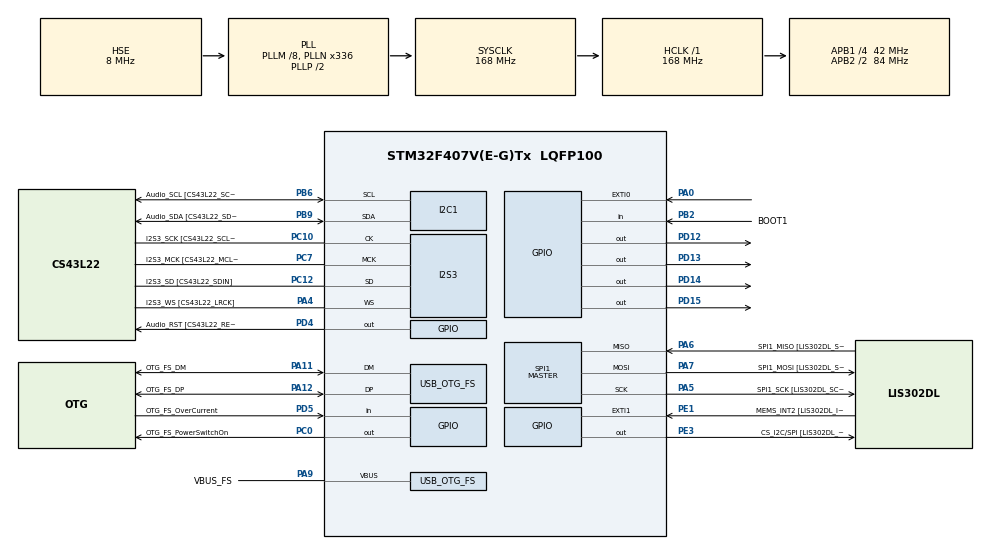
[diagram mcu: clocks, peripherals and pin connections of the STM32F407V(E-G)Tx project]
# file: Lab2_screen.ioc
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I2S3.AudioFreq-Half_Duplex_Master=I2S_AUDIOFREQ_96K
I2S3.ErrorAudioFreq=-2.34 %
I2S3.ErrorAudioFreq-Half_Duplex_Master=0.8 %
I2S3.FullDuplexMode=I2S_FULLDUPLEXMODE_DISABLE
I2S3.Instance=SPI$Index
I2S3.RealAudioFreq=93.75 KHz
I2S3.RealAudioFreq-Half_Duplex_Master=96.774 KHz
I2S3.VirtualMode=I2S_MODE_MASTER
Mcu.Family=STM32F4
Mcu.Name=STM32F407V(E-G)Tx
Mcu.Package=LQFP100
NVIC.EXTI0_IRQn=true\:0\:0\:false\:false\:true\:true\:true\:true
NVIC.OTG_FS_IRQn=true\:0\:0\:false\:false\:true\:true\:true\:true
NVIC.PriorityGroup=NVIC_PRIORITYGROUP_0
NVIC.TIM2_IRQn=true\:0\:0\:false\:false\:true\:true\:true\:true
PA0-WKUP.GPIO_ModeDefaultEXTI=GPIO_MODE_IT_RISING_FALLING
PA0-WKUP.Signal=GPXTI0
PA10.GPIO_Label=OTG_FS_ID
PA10.GPIO_Mode=GPIO_MODE_AF_PP
PA10.GPIO_PuPd=GPIO_NOPULL
PA10.GPIO_Speed=GPIO_SPEED_FREQ_LOW
PA10.Signal=USB_OTG_FS_ID
PA11.GPIO_Label=OTG_FS_DM
PA11.GPIO_Mode=GPIO_MODE_AF_PP
PA11.GPIO_PuPd=GPIO_NOPULL
PA11.GPIO_Speed=GPIO_SPEED_FREQ_LOW
PA11.Mode=Host_Only
PA11.Signal=USB_OTG_FS_DM
PA12.GPIO_Label=OTG_FS_DP
PA12.GPIO_Mode=GPIO_MODE_AF_PP
PA12.GPIO_PuPd=GPIO_NOPULL
PA12.GPIO_Speed=GPIO_SPEED_FREQ_LOW
PA12.Mode=Host_Only
PA12.Signal=USB_OTG_FS_DP
PA13.GPIO_Label=SWDIO
PA13.Mode=Serial_Wire
PA13.Signal=SYS_JTMS-SWDIO
PA14.GPIO_Label=SWCLK
PA14.Mode=Serial_Wire
PA14.Signal=SYS_JTCK-SWCLK
PA4.GPIO_Label=I2S3_WS [CS43L22_LRCK]
PA4.GPIO_Mode=GPIO_MODE_AF_PP
PA4.GPIO_PuPd=GPIO_NOPULL
PA4.GPIO_Speed=GPIO_SPEED_FREQ_LOW
PA4.Mode=Half_Duplex_Master
PA4.Signal=I2S3_WS
PA5.GPIO_Label=SPI1_SCK [LIS302DL_SCL/SPC]
PA5.GPIO_Mode=GPIO_MODE_AF_PP
PA5.GPIO_PuPd=GPIO_NOPULL
PA5.GPIO_Speed=GPIO_SPEED_FREQ_LOW
PA5.Mode=Full_Duplex_Master
PA5.Signal=SPI1_SCK
PA6.GPIO_Label=SPI1_MISO [LIS302DL_SDO]
PA6.GPIO_Mode=GPIO_MODE_AF_PP
PA6.GPIO_PuPd=GPIO_NOPULL
PA6.GPIO_Speed=GPIO_SPEED_FREQ_LOW
PA6.Mode=Full_Duplex_Master
PA6.Signal=SPI1_MISO
PA7.GPIO_Label=SPI1_MOSI [LIS302DL_SDA/SDI/SDO]
PA7.GPIO_Mode=GPIO_MODE_AF_PP
PA7.GPIO_PuPd=GPIO_NOPULL
PA7.GPIO_Speed=GPIO_SPEED_FREQ_LOW
PA7.Mode=Full_Duplex_Master
PA7.Signal=SPI1_MOSI
PA9.GPIO_Label=VBUS_FS
PA9.GPIO_Mode=GPIO_MODE_INPUT
PA9.GPIO_PuPd=GPIO_NOPULL
PA9.Mode=Activate_VBUS
PA9.Signal=USB_OTG_FS_VBUS
PB10.GPIO_Label=CLK_IN [MP45DT02_CLK]
PB10.GPIO_Mode=GPIO_MODE_AF_PP
PB10.GPIO_PuPd=GPIO_NOPULL
PB10.GPIO_Speed=GPIO_SPEED_FREQ_LOW
PB10.Signal=I2S2_CK
PB2.GPIO_Label=BOOT1
PB2.GPIO_Mode=GPIO_MODE_INPUT
PB2.GPIO_PuPd=GPIO_NOPULL
PB2.Signal=GPIO_Input
PB3.GPIO_Label=SWO
PB3.Signal=SYS_JTDO-SWO
PB6.GPIO_Label=Audio_SCL [CS43L22_SCL]
PB6.GPIO_Mode=GPIO_MODE_AF_OD
PB6.GPIO_Pu=GPIO_PULLUP
PB6.GPIO_PuPd=GPIO_NOPULL
PB6.GPIO_Speed=GPIO_SPEED_FREQ_LOW
PB6.Mode=I2C
PB6.Signal=I2C1_SCL
PB9.GPIO_Label=Audio_SDA [CS43L22_SDA]
PB9.GPIO_Mode=GPIO_MODE_AF_OD
PB9.GPIO_Pu=GPIO_PULLUP
PB9.GPIO_PuPd=GPIO_NOPULL
PB9.GPIO_Speed=GPIO_SPEED_FREQ_LOW
PB9.Mode=I2C
PB9.Signal=I2C1_SDA
PC0.GPIO_Label=OTG_FS_PowerSwitchOn
PC0.GPIO_PuPd=GPIO_NOPULL
PC0.GPIO_Speed=GPIO_SPEED_FREQ_LOW
PC0.PinState=GPIO_PIN_SET
PC0.Signal=GPIO_Output
PC10.GPIO_Label=I2S3_SCK [CS43L22_SCLK]
PC10.GPIO_Mode=GPIO_MODE_AF_PP
PC10.GPIO_PuPd=GPIO_NOPULL
PC10.GPIO_Speed=GPIO_SPEED_FREQ_LOW
PC10.Mode=Half_Duplex_Master
PC10.Signal=I2S3_CK
PC12.GPIO_Label=I2S3_SD [CS43L22_SDIN]
PC12.GPIO_Mode=GPIO_MODE_AF_PP
PC12.GPIO_PuPd=GPIO_NOPULL
PC12.GPIO_Speed=GPIO_SPEED_FREQ_LOW
PC12.Mode=Half_Duplex_Master
PC12.Signal=I2S3_SD
PC14-OSC32_IN.GPIO_Label=PC14-OSC32_IN
PC14-OSC32_IN.Mode=LSE-External-Oscillator
PC14-OSC32_IN.Signal=RCC_OSC32_IN
PC15-OSC32_OUT.GPIO_Label=PC15-OSC32_OUT
PC15-OSC32_OUT.Mode=LSE-External-Oscillator
PC15-OSC32_OUT.Signal=RCC_OSC32_OUT
PC3.GPIO_Label=PDM_OUT [MP45DT02_DOUT]
PC3.GPIO_Mode=GPIO_MODE_AF_PP
PC3.GPIO_PuPd=GPIO_NOPULL
PC3.GPIO_Speed=GPIO_SPEED_FREQ_LOW
PC3.Signal=I2S2_SD
PC7.GPIO_Label=I2S3_MCK [CS43L22_MCLK]
PC7.GPIO_Mode=GPIO_MODE_AF_PP
PC7.GPIO_PuPd=GPIO_NOPULL
PC7.GPIO_Speed=GPIO_SPEED_FREQ_LOW
PC7.Mode=Master_Clock_Activated
PC7.Signal=I2S3_MCK
PD12.Signal=GPIO_Output
PD13.Signal=GPIO_Output
PD14.Signal=GPIO_Output
PD15.Signal=GPIO_Output
PD4.GPIO_Label=Audio_RST [CS43L22_RESET]
PD4.GPIO_PuPd=GPIO_NOPULL
PD4.GPIO_Speed=GPIO_SPEED_FREQ_LOW
PD4.Signal=GPIO_Output
PD5.GPIO_Label=OTG_FS_OverCurrent
PD5.GPIO_Mode=GPIO_MODE_INPUT
PD5.GPIO_PuPd=GPIO_NOPULL
PD5.Signal=GPIO_Input
PE1.GPIO_Label=MEMS_INT2 [LIS302DL_INT2]
PE1.GPIO_ModeDefaultEXTI=GPIO_MODE_EVT_RISING
PE1.GPIO_PuPd=GPIO_NOPULL
PE1.Signal=GPXTI1
PE3.GPIO_Label=CS_I2C/SPI [LIS302DL_CS_I2C/SPI]
PE3.GPIO_PuPd=GPIO_NOPULL
PE3.GPIO_Speed=GPIO_SPEED_FREQ_LOW
PE3.Signal=GPIO_Output
PH0-OSC_IN.GPIO_Label=PH0-OSC_IN
PH0-OSC_IN.Mode=HSE-External-Oscillator
PH0-OSC_IN.Signal=RCC_OSC_IN
PH1-OSC_OUT.GPIO_Label=PH1-OSC_OUT
PH1-OSC_OUT.Mode=HSE-External-Oscillator
PH1-OSC_OUT.Signal=RCC_OSC_OUT
ProjectManager.HeapSize=0x200
ProjectManager.StackSize=0x400
ProjectManager.TargetToolchain=STM32CubeIDE
RCC.48MHZClocksFreq_Value=48000000
RCC.AHBFreq_Value=168000000
RCC.APB1CLKDivider=RCC_HCLK_DIV4
RCC.APB1Freq_Value=42000000
RCC.APB1TimFreq_Value=84000000
RCC.APB2CLKDivider=RCC_HCLK_DIV2
RCC.APB2Freq_Value=84000000
RCC.APB2TimFreq_Value=168000000
RCC.CortexFreq_Value=168000000
RCC.HCLKFreq_Value=168000000
RCC.HSE_VALUE=8000000
RCC.HSI_VALUE=16000000
RCC.PLLM=8
RCC.PLLN=336
RCC.PLLQ=7
RCC.SYSCLKFreq_VALUE=168000000
RCC.SYSCLKSource=RCC_SYSCLKSOURCE_PLLCLK
RCC.VCOOutputFreq_Value=336000000
SPI1.BaudRatePrescaler-Full_Duplex_Master=SPI_BAUDRATEPRESCALER_2
SPI1.CalculateBaudRate-Full_Duplex_Master=42.0 MBits/s
SPI1.Direction=SPI_DIRECTION_2LINES
SPI1.Mode=SPI_MODE_MASTER
SPI1.Mode-Full_Duplex_Master=SPI_MODE_MASTER
SPI1.VirtualType=VM_MASTER
TIM2.Period=10000-1
TIM2.Prescaler=8400-1
TIM4.Period=1000-1
TIM4.Prescaler=84
USB_HOST.BSP.number=1
USB_HOST.USBH_HandleTypeDef-CDC_FS=hUsbHostFS
USB_HOST.VirtualModeFS=Cdc
USB_HOST0.BSP.STBoard=false
USB_HOST0.BSP.api=Unknown
USB_HOST0.BSP.instance=PC0
USB_HOST0.BSP.ip=GPIO
USB_HOST0.BSP.mode=Output
USB_HOST0.BSP.name=Drive_VBUS_FS
USB_HOST0.BSP.solution=PC0
USB_OTG_FS.VirtualMode=Host_Only
USB_OTG_FS.phy_itface=HCD_PHY_EMBEDDED
VP_TIM2_VS_ClockSourceINT.Mode=Internal
VP_TIM4_VS_ClockSourceINT.Mode=Internal
VP_USB_HOST_VS_USB_HOST_CDC_FS.Mode=CDC_FS
board=STM32F407G-DISC1

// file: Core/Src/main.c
/* USER CODE BEGIN Header */
/**
  ******************************************************************************
  * @file           : main.c
  * @brief          : Main program body
  ******************************************************************************
  * @attention
  *
  * Copyright (c) 2025 STMicroelectronics.
  * All rights reserved.
  *
  * This software is licensed under terms that can be found in the LICENSE file
  * in the root directory of this software component.
  * If no LICENSE file comes with this software, it is provided AS-IS.
  *
  ******************************************************************************
  */
/* USER CODE END Header */
#include "main.h"
#include "usb_host.h"
#include "wh1602.h"

I2C_HandleTypeDef hi2c1;

I2S_HandleTypeDef hi2s3;

SPI_HandleTypeDef hspi1;

TIM_HandleTypeDef htim2;
TIM_HandleTypeDef htim4;

/* USER CODE BEGIN PV */
uint32_t currentClick = 0;
uint32_t prevClick = 0;
uint32_t i_count = 0;

/* USER CODE END PV */

void SystemClock_Config(void);
static void MX_GPIO_Init(void);
static void MX_I2C1_Init(void);
static void MX_I2S3_Init(void);
static void MX_SPI1_Init(void);
static void MX_TIM2_Init(void);
static void MX_TIM4_Init(void);
void MX_USB_HOST_Process(void);

int main(void)
{

  /* MCU Configuration--------------------------------------------------------*/

  /* Reset of all peripherals, Initializes the Flash interface and the Systick. */
  HAL_Init();

  /* Configure the system clock */
  SystemClock_Config();

  /* Initialize all configured peripherals */
  MX_GPIO_Init();
  MX_I2C1_Init();
  MX_I2S3_Init();
  MX_SPI1_Init();
  MX_USB_HOST_Init();
  MX_TIM2_Init();
  MX_TIM4_Init();
  /* USER CODE BEGIN 2 */
  lcd_init();
  /* USER CODE END 2 */

  /* Infinite loop */
  while (1)
  {
    MX_USB_HOST_Process();

    /* USER CODE BEGIN 3 */
    char name [3][60] = {"Oleksii", "Svitlana", "Anastasia"};
    char surname [3][60] = {"Chkalov", "Chkalova", "Platonova"};

    for (i_count = 0; i_count < 3; i_count++)
    {
    	lcd_clear();

    	lcd_print_string_at(name[i_count], 0, 0);
    	lcd_print_string_at(surname[i_count], 0, 1);

    	HAL_Delay(2000);
    }
  }
  /* USER CODE END 3 */
}

void SystemClock_Config(void)
{
  RCC_OscInitTypeDef RCC_OscInitStruct = {0};
  RCC_ClkInitTypeDef RCC_ClkInitStruct = {0};

  /** Configure the main internal regulator output voltage
  */
  __HAL_RCC_PWR_CLK_ENABLE();
  __HAL_PWR_VOLTAGESCALING_CONFIG(PWR_REGULATOR_VOLTAGE_SCALE1);

  /** Initializes the RCC Oscillators according to the specified parameters
  * in the RCC_OscInitTypeDef structure.
  */
  RCC_OscInitStruct.OscillatorType = RCC_OSCILLATORTYPE_HSE;
  RCC_OscInitStruct.HSEState = RCC_HSE_ON;
  RCC_OscInitStruct.PLL.PLLState = RCC_PLL_ON;
  RCC_OscInitStruct.PLL.PLLSource = RCC_PLLSOURCE_HSE;
  RCC_OscInitStruct.PLL.PLLM = 8;
  RCC_OscInitStruct.PLL.PLLN = 336;
  RCC_OscInitStruct.PLL.PLLP = RCC_PLLP_DIV2;
  RCC_OscInitStruct.PLL.PLLQ = 7;
  if (HAL_RCC_OscConfig(&RCC_OscInitStruct) != HAL_OK)
  {
    Error_Handler();
  }

  /** Initializes the CPU, AHB and APB buses clocks
  */
  RCC_ClkInitStruct.ClockType = RCC_CLOCKTYPE_HCLK|RCC_CLOCKTYPE_SYSCLK
                              |RCC_CLOCKTYPE_PCLK1|RCC_CLOCKTYPE_PCLK2;
  RCC_ClkInitStruct.SYSCLKSource = RCC_SYSCLKSOURCE_PLLCLK;
  RCC_ClkInitStruct.AHBCLKDivider = RCC_SYSCLK_DIV1;
  RCC_ClkInitStruct.APB1CLKDivider = RCC_HCLK_DIV4;
  RCC_ClkInitStruct.APB2CLKDivider = RCC_HCLK_DIV2;

  if (HAL_RCC_ClockConfig(&RCC_ClkInitStruct, FLASH_LATENCY_5) != HAL_OK)
  {
    Error_Handler();
  }
}

static void MX_I2C1_Init(void)
{

  hi2c1.Instance = I2C1;
  hi2c1.Init.ClockSpeed = 100000;
  hi2c1.Init.DutyCycle = I2C_DUTYCYCLE_2;
  hi2c1.Init.OwnAddress1 = 0;
  hi2c1.Init.AddressingMode = I2C_ADDRESSINGMODE_7BIT;
  hi2c1.Init.DualAddressMode = I2C_DUALADDRESS_DISABLE;
  hi2c1.Init.OwnAddress2 = 0;
  hi2c1.Init.GeneralCallMode = I2C_GENERALCALL_DISABLE;
  hi2c1.Init.NoStretchMode = I2C_NOSTRETCH_DISABLE;
  if (HAL_I2C_Init(&hi2c1) != HAL_OK)
  {
    Error_Handler();
  }

}

static void MX_I2S3_Init(void)
{

  hi2s3.Instance = SPI3;
  hi2s3.Init.Mode = I2S_MODE_MASTER_TX;
  hi2s3.Init.Standard = I2S_STANDARD_PHILIPS;
  hi2s3.Init.DataFormat = I2S_DATAFORMAT_16B;
  hi2s3.Init.MCLKOutput = I2S_MCLKOUTPUT_ENABLE;
  hi2s3.Init.AudioFreq = I2S_AUDIOFREQ_96K;
  hi2s3.Init.CPOL = I2S_CPOL_LOW;
  hi2s3.Init.ClockSource = I2S_CLOCK_PLL;
  hi2s3.Init.FullDuplexMode = I2S_FULLDUPLEXMODE_DISABLE;
  if (HAL_I2S_Init(&hi2s3) != HAL_OK)
  {
    Error_Handler();
  }

}

static void MX_SPI1_Init(void)
{

  /* SPI1 parameter configuration*/
  hspi1.Instance = SPI1;
  hspi1.Init.Mode = SPI_MODE_MASTER;
  hspi1.Init.Direction = SPI_DIRECTION_2LINES;
  hspi1.Init.DataSize = SPI_DATASIZE_8BIT;
  hspi1.Init.CLKPolarity = SPI_POLARITY_LOW;
  hspi1.Init.CLKPhase = SPI_PHASE_1EDGE;
  hspi1.Init.NSS = SPI_NSS_SOFT;
  hspi1.Init.BaudRatePrescaler = SPI_BAUDRATEPRESCALER_2;
  hspi1.Init.FirstBit = SPI_FIRSTBIT_MSB;
  hspi1.Init.TIMode = SPI_TIMODE_DISABLE;
  hspi1.Init.CRCCalculation = SPI_CRCCALCULATION_DISABLE;
  hspi1.Init.CRCPolynomial = 10;
  if (HAL_SPI_Init(&hspi1) != HAL_OK)
  {
    Error_Handler();
  }

}

static void MX_TIM2_Init(void)
{

  TIM_ClockConfigTypeDef sClockSourceConfig = {0};
  TIM_MasterConfigTypeDef sMasterConfig = {0};

  htim2.Instance = TIM2;
  htim2.Init.Prescaler = 8400-1;
  htim2.Init.CounterMode = TIM_COUNTERMODE_UP;
  htim2.Init.Period = 10000-1;
  htim2.Init.ClockDivision = TIM_CLOCKDIVISION_DIV1;
  htim2.Init.AutoReloadPreload = TIM_AUTORELOAD_PRELOAD_DISABLE;
  if (HAL_TIM_Base_Init(&htim2) != HAL_OK)
  {
    Error_Handler();
  }
  sClockSourceConfig.ClockSource = TIM_CLOCKSOURCE_INTERNAL;
  if (HAL_TIM_ConfigClockSource(&htim2, &sClockSourceConfig) != HAL_OK)
  {
    Error_Handler();
  }
  sMasterConfig.MasterOutputTrigger = TIM_TRGO_RESET;
  sMasterConfig.MasterSlaveMode = TIM_MASTERSLAVEMODE_DISABLE;
  if (HAL_TIMEx_MasterConfigSynchronization(&htim2, &sMasterConfig) != HAL_OK)
  {
    Error_Handler();
  }

}

static void MX_TIM4_Init(void)
{

  TIM_ClockConfigTypeDef sClockSourceConfig = {0};
  TIM_MasterConfigTypeDef sMasterConfig = {0};

  htim4.Instance = TIM4;
  htim4.Init.Prescaler = 84;
  htim4.Init.CounterMode = TIM_COUNTERMODE_UP;
  htim4.Init.Period = 1000-1;
  htim4.Init.ClockDivision = TIM_CLOCKDIVISION_DIV1;
  htim4.Init.AutoReloadPreload = TIM_AUTORELOAD_PRELOAD_DISABLE;
  if (HAL_TIM_Base_Init(&htim4) != HAL_OK)
  {
    Error_Handler();
  }
  sClockSourceConfig.ClockSource = TIM_CLOCKSOURCE_INTERNAL;
  if (HAL_TIM_ConfigClockSource(&htim4, &sClockSourceConfig) != HAL_OK)
  {
    Error_Handler();
  }
  sMasterConfig.MasterOutputTrigger = TIM_TRGO_RESET;
  sMasterConfig.MasterSlaveMode = TIM_MASTERSLAVEMODE_DISABLE;
  if (HAL_TIMEx_MasterConfigSynchronization(&htim4, &sMasterConfig) != HAL_OK)
  {
    Error_Handler();
  }

}

static void MX_GPIO_Init(void)
{
  GPIO_InitTypeDef GPIO_InitStruct = {0};

  /* GPIO Ports Clock Enable */
  __HAL_RCC_GPIOE_CLK_ENABLE();
  __HAL_RCC_GPIOC_CLK_ENABLE();
  __HAL_RCC_GPIOH_CLK_ENABLE();
  __HAL_RCC_GPIOA_CLK_ENABLE();
  __HAL_RCC_GPIOB_CLK_ENABLE();
  __HAL_RCC_GPIOD_CLK_ENABLE();

  /*Configure GPIO pin Output Level */
  HAL_GPIO_WritePin(CS_I2C_SPI_GPIO_Port, CS_I2C_SPI_Pin, GPIO_PIN_RESET);

  /*Configure GPIO pin Output Level */
  HAL_GPIO_WritePin(OTG_FS_PowerSwitchOn_GPIO_Port, OTG_FS_PowerSwitchOn_Pin, GPIO_PIN_SET);

  /*Configure GPIO pin Output Level */
  HAL_GPIO_WritePin(GPIOD, GPIO_PIN_12|GPIO_PIN_13|GPIO_PIN_14|GPIO_PIN_15
                          |Audio_RST_Pin, GPIO_PIN_RESET);

  /*Configure GPIO pin : CS_I2C_SPI_Pin */
  GPIO_InitStruct.Pin = CS_I2C_SPI_Pin;
  GPIO_InitStruct.Mode = GPIO_MODE_OUTPUT_PP;
  GPIO_InitStruct.Pull = GPIO_NOPULL;
  GPIO_InitStruct.Speed = GPIO_SPEED_FREQ_LOW;
  HAL_GPIO_Init(CS_I2C_SPI_GPIO_Port, &GPIO_InitStruct);

  /*Configure GPIO pin : OTG_FS_PowerSwitchOn_Pin */
  GPIO_InitStruct.Pin = OTG_FS_PowerSwitchOn_Pin;
  GPIO_InitStruct.Mode = GPIO_MODE_OUTPUT_PP;
  GPIO_InitStruct.Pull = GPIO_NOPULL;
  GPIO_InitStruct.Speed = GPIO_SPEED_FREQ_LOW;
  HAL_GPIO_Init(OTG_FS_PowerSwitchOn_GPIO_Port, &GPIO_InitStruct);

  /*Configure GPIO pin : PDM_OUT_Pin */
  GPIO_InitStruct.Pin = PDM_OUT_Pin;
  GPIO_InitStruct.Mode = GPIO_MODE_AF_PP;
  GPIO_InitStruct.Pull = GPIO_NOPULL;
  GPIO_InitStruct.Speed = GPIO_SPEED_FREQ_LOW;
  GPIO_InitStruct.Alternate = GPIO_AF5_SPI2;
  HAL_GPIO_Init(PDM_OUT_GPIO_Port, &GPIO_InitStruct);

  /*Configure GPIO pin : PA0 */
  GPIO_InitStruct.Pin = GPIO_PIN_0;
  GPIO_InitStruct.Mode = GPIO_MODE_IT_RISING_FALLING;
  GPIO_InitStruct.Pull = GPIO_NOPULL;
  HAL_GPIO_Init(GPIOA, &GPIO_InitStruct);

  /*Configure GPIO pin : BOOT1_Pin */
  GPIO_InitStruct.Pin = BOOT1_Pin;
  GPIO_InitStruct.Mode = GPIO_MODE_INPUT;
  GPIO_InitStruct.Pull = GPIO_NOPULL;
  HAL_GPIO_Init(BOOT1_GPIO_Port, &GPIO_InitStruct);

  /*Configure GPIO pin : CLK_IN_Pin */
  GPIO_InitStruct.Pin = CLK_IN_Pin;
  GPIO_InitStruct.Mode = GPIO_MODE_AF_PP;
  GPIO_InitStruct.Pull = GPIO_NOPULL;
  GPIO_InitStruct.Speed = GPIO_SPEED_FREQ_LOW;
  GPIO_InitStruct.Alternate = GPIO_AF5_SPI2;
  HAL_GPIO_Init(CLK_IN_GPIO_Port, &GPIO_InitStruct);

  /*Configure GPIO pins : PD12 PD13 PD14 PD15
                           Audio_RST_Pin */
  GPIO_InitStruct.Pin = GPIO_PIN_12|GPIO_PIN_13|GPIO_PIN_14|GPIO_PIN_15
                          |Audio_RST_Pin;
  GPIO_InitStruct.Mode = GPIO_MODE_OUTPUT_PP;
  GPIO_InitStruct.Pull = GPIO_NOPULL;
  GPIO_InitStruct.Speed = GPIO_SPEED_FREQ_LOW;
  HAL_GPIO_Init(GPIOD, &GPIO_InitStruct);

  /*Configure GPIO pin : OTG_FS_OverCurrent_Pin */
  GPIO_InitStruct.Pin = OTG_FS_OverCurrent_Pin;
  GPIO_InitStruct.Mode = GPIO_MODE_INPUT;
  GPIO_InitStruct.Pull = GPIO_NOPULL;
  HAL_GPIO_Init(OTG_FS_OverCurrent_GPIO_Port, &GPIO_InitStruct);

  /*Configure GPIO pin : MEMS_INT2_Pin */
  GPIO_InitStruct.Pin = MEMS_INT2_Pin;
  GPIO_InitStruct.Mode = GPIO_MODE_EVT_RISING;
  GPIO_InitStruct.Pull = GPIO_NOPULL;
  HAL_GPIO_Init(MEMS_INT2_GPIO_Port, &GPIO_InitStruct);

  /* EXTI interrupt init*/
  HAL_NVIC_SetPriority(EXTI0_IRQn, 0, 0);
  HAL_NVIC_EnableIRQ(EXTI0_IRQn);

}

/* USER CODE BEGIN 4 */
void HAL_GPIO_EXTI_Callback(uint16_t GPIO_Pin)
{
	currentClick = HAL_GetTick();
	if((HAL_GPIO_ReadPin(GPIOA, GPIO_PIN_0) == GPIO_PIN_SET))
		{
			HAL_GPIO_WritePin(GPIOD, GPIO_PIN_12, GPIO_PIN_SET);
			HAL_GPIO_WritePin(GPIOD, GPIO_PIN_13, GPIO_PIN_SET);
			HAL_GPIO_WritePin(GPIOD, GPIO_PIN_14, GPIO_PIN_SET);
			HAL_GPIO_WritePin(GPIOD, GPIO_PIN_15, GPIO_PIN_SET);
			// HAL_Delay(2);
		}
		else
		{
			HAL_GPIO_WritePin(GPIOD, GPIO_PIN_12, GPIO_PIN_RESET);
			HAL_GPIO_WritePin(GPIOD, GPIO_PIN_13, GPIO_PIN_RESET);
			HAL_GPIO_WritePin(GPIOD, GPIO_PIN_14, GPIO_PIN_RESET);
			HAL_GPIO_WritePin(GPIOD, GPIO_PIN_15, GPIO_PIN_RESET);
			i_count++;
			if (i_count > 2)
				i_count = 0;
			// HAL_Delay(2);
		}
}
/* USER CODE END 4 */

void Error_Handler(void)
{
  __disable_irq();
  while (1)
  {
  }
}
